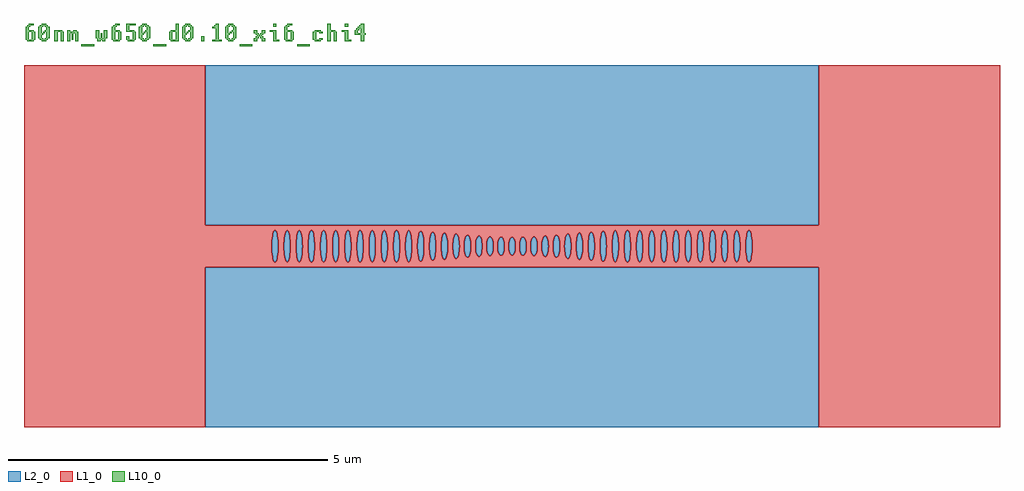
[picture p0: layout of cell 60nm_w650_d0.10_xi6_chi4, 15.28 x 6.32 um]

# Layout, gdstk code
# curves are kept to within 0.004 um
import gdstk
lib = gdstk.Library(unit=1e-6, precision=1e-09)
def R(c, l, rs):  # rectangles x0, y0, x1, y1
    for r in rs: c.add(gdstk.rectangle(r[:2], r[2:], *l))
def A(c, l, x, y, w, h, nx, ny, dx, dy):  # array of equal rectangles
    R(c, l, [(x+i*dx, y+j*dy, x+i*dx+w, y+j*dy+h) for i in range(nx) for j in range(ny)])
def P(c, l, *ps):  # polygons
    for p in ps: c.add(gdstk.Polygon(p, *l))
L1_0 = (1, 0)
L2_0 = (2, 0)
L10_0 = (10, 0)

c_60nm_w650_d0_10_xi6_chi4 = lib.new_cell('60nm_w650_d0.10_xi6_chi4')
P(c_60nm_w650_d0_10_xi6_chi4, L1_0, [(-2.997,0.086),(-2.975,0.217),(-2.967,0.235),(-2.95,0.25),(-2.932,0.235),(-2.924,0.217),(-2.906,0.125),(-2.906,0.325),(-4.806,0.325),(-4.806,2.835),(-7.641,2.835),(-7.641,-0.043),(-3.761,-0.043),(-3.761,0.043),(-3.749,0.161),(-3.736,0.217),(-3.72,0.246),(-3.711,0.25),(-3.694,0.235),(-3.678,0.192),(-3.663,0.086),(-3.66,0),(-3.571,0),(-3.568,0.086),(-3.553,0.192),(-3.538,0.235),(-3.521,0.25),(-3.503,0.235),(-3.488,0.192),(-3.473,0.086),(-3.47,0),(-3.381,0),(-3.378,0.086),(-3.363,0.192),(-3.347,0.235),(-3.33,0.25),(-3.321,0.246),(-3.305,0.217),(-3.292,0.161),(-3.283,0.086),(-3.281,-0.043),(-3.19,-0.043),(-3.19,0.043),(-3.179,0.161),(-3.165,0.217),(-3.149,0.246),(-3.131,0.246),(-3.115,0.217),(-3.101,0.161),(-3.09,0.043),(-3.09,-0.043),(-3.101,-0.161),(-3.115,-0.217),(-3.131,-0.246),(-3.14,-0.25),(-3.157,-0.235),(-3.172,-0.192),(-3.19,-0.043),(-3.281,-0.043),(-3.287,-0.125),(-3.305,-0.217),(-3.321,-0.246),(-3.339,-0.246),(-3.355,-0.217),(-3.369,-0.161),(-3.381,0),(-3.47,0),(-3.473,-0.086),(-3.488,-0.192),(-3.503,-0.235),(-3.521,-0.25),(-3.538,-0.235),(-3.553,-0.192),(-3.568,-0.086),(-3.571,0),(-3.66,0),(-3.663,-0.086),(-3.678,-0.192),(-3.694,-0.235),(-3.711,-0.25),(-3.728,-0.235),(-3.743,-0.192),(-3.761,-0.043),(-7.641,-0.043),(-7.641,-2.835),(-4.806,-2.835),(-4.806,-0.325),(-2.906,-0.325),(-2.906,-0.125),(-2.924,-0.217),(-2.941,-0.246),(-2.95,-0.25),(-2.967,-0.235),(-2.982,-0.192),(-2.997,-0.086)],
  [(-2.902,-0.086),(-2.906,-0.325),(-1.973,-0.325),(-1.973,-0.217),(-1.989,-0.246),(-1.998,-0.25),(-2.015,-0.235),(-2.031,-0.192),(-2.046,-0.086),(-2.049,0),(-2.046,0.086),(-2.031,0.192),(-2.015,0.235),(-1.998,0.25),(-1.989,0.246),(-1.973,0.217),(-1.973,0.325),(-2.906,0.325),(-2.906,0.125),(-2.899,0),(-2.81,0),(-2.807,0.086),(-2.792,0.192),(-2.777,0.235),(-2.759,0.25),(-2.742,0.235),(-2.734,0.217),(-2.721,0.161),(-2.712,0.086),(-2.71,-0.043),(-2.619,-0.043),(-2.619,0.043),(-2.608,0.161),(-2.594,0.217),(-2.578,0.246),(-2.56,0.246),(-2.537,0.192),(-2.525,0.125),(-2.519,0),(-2.429,0),(-2.426,0.086),(-2.411,0.192),(-2.396,0.235),(-2.379,0.25),(-2.362,0.235),(-2.346,0.192),(-2.331,0.086),(-2.328,0),(-2.239,0),(-2.236,0.086),(-2.221,0.192),(-2.206,0.235),(-2.188,0.25),(-2.18,0.246),(-2.163,0.217),(-2.15,0.161),(-2.138,0),(-2.141,-0.086),(-2.156,-0.192),(-2.171,-0.235),(-2.188,-0.25),(-2.206,-0.235),(-2.221,-0.192),(-2.236,-0.086),(-2.239,0),(-2.328,0),(-2.331,-0.086),(-2.346,-0.192),(-2.362,-0.235),(-2.379,-0.25),(-2.396,-0.235),(-2.411,-0.192),(-2.426,-0.086),(-2.429,0),(-2.519,0),(-2.53,-0.161),(-2.544,-0.217),(-2.56,-0.246),(-2.569,-0.25),(-2.586,-0.235),(-2.601,-0.192),(-2.619,-0.043),(-2.71,-0.043),(-2.727,-0.192),(-2.742,-0.235),(-2.759,-0.25),(-2.777,-0.235),(-2.792,-0.192),(-2.807,-0.086),(-2.81,0),(-2.899,0)],
  [(-1.107,0.059),(-1.098,0.129),(-1.074,0.197),(-1.054,0.208),(-1.044,0.202),(-1.026,0.17),(-1.026,0.325),(-1.973,0.325),(-1.973,0.217),(-1.954,0.125),(-1.948,-0.043),(-1.858,-0.043),(-1.858,0.043),(-1.846,0.161),(-1.833,0.217),(-1.817,0.246),(-1.808,0.25),(-1.799,0.246),(-1.783,0.217),(-1.769,0.161),(-1.76,0.086),(-1.758,-0.043),(-1.668,-0.043),(-1.668,0.043),(-1.657,0.159),(-1.643,0.214),(-1.627,0.243),(-1.618,0.247),(-1.609,0.243),(-1.593,0.214),(-1.579,0.159),(-1.567,-0.021),(-1.48,-0.021),(-1.475,0.103),(-1.464,0.172),(-1.449,0.218),(-1.431,0.237),(-1.413,0.226),(-1.39,0.156),(-1.378,0),(-1.293,0),(-1.28,0.151),(-1.264,0.201),(-1.246,0.223),(-1.227,0.215),(-1.203,0.151),(-1.19,0),(-1.203,-0.151),(-1.219,-0.201),(-1.237,-0.223),(-1.256,-0.215),(-1.273,-0.179),(-1.29,-0.081),(-1.293,0),(-1.378,0),(-1.39,-0.156),(-1.413,-0.226),(-1.431,-0.237),(-1.449,-0.218),(-1.464,-0.172),(-1.48,-0.021),(-1.567,-0.021),(-1.585,-0.189),(-1.601,-0.232),(-1.618,-0.247),(-1.635,-0.232),(-1.65,-0.189),(-1.668,-0.043),(-1.758,-0.043),(-1.775,-0.192),(-1.791,-0.235),(-1.808,-0.25),(-1.825,-0.235),(-1.84,-0.192),(-1.858,-0.043),(-1.948,-0.043),(-1.954,-0.125),(-1.973,-0.217),(-1.973,-0.325),(-1.026,-0.325),(-1.026,-0.17),(-1.044,-0.202),(-1.054,-0.208),(-1.074,-0.197),(-1.083,-0.18),(-1.098,-0.129),(-1.107,-0.059)],
  [(-1.008,-0.077),(-1.026,-0.17),(-1.026,-0.325),(-0.003,-0.325),(-0.003,-0.141),(-0.027,-0.122),(-0.037,-0.103),(-0.053,-0.016),(-0.045,0.078),(-0.027,0.122),(-0.003,0.141),(-0.003,0.325),(-1.026,0.325),(-1.026,0.17),(-1.008,0.077),(-1.005,0),(-0.927,0),(-0.923,0.073),(-0.912,0.136),(-0.895,0.177),(-0.874,0.192),(-0.854,0.177),(-0.837,0.136),(-0.826,0.073),(-0.822,0),(-0.748,0),(-0.744,0.072),(-0.731,0.131),(-0.722,0.153),(-0.701,0.175),(-0.679,0.168),(-0.66,0.131),(-0.647,0.072),(-0.642,-0.018),(-0.571,-0.018),(-0.569,0.052),(-0.557,0.112),(-0.538,0.151),(-0.515,0.162),(-0.493,0.143),(-0.484,0.124),(-0.47,0.068),(-0.465,0),(-0.398,0),(-0.386,0.094),(-0.367,0.136),(-0.344,0.151),(-0.321,0.136),(-0.302,0.094),(-0.291,0),(-0.225,0),(-0.22,0.062),(-0.205,0.113),(-0.195,0.13),(-0.172,0.144),(-0.148,0.13),(-0.138,0.113),(-0.119,0.032),(-0.119,-0.032),(-0.13,-0.09),(-0.148,-0.13),(-0.172,-0.144),(-0.195,-0.13),(-0.205,-0.113),(-0.22,-0.062),(-0.225,0),(-0.291,0),(-0.302,-0.094),(-0.321,-0.136),(-0.344,-0.151),(-0.367,-0.136),(-0.386,-0.094),(-0.398,0),(-0.465,0),(-0.47,-0.068),(-0.484,-0.124),(-0.493,-0.143),(-0.515,-0.162),(-0.538,-0.151),(-0.557,-0.112),(-0.571,-0.018),(-0.642,-0.018),(-0.66,-0.131),(-0.679,-0.168),(-0.69,-0.175),(-0.711,-0.168),(-0.731,-0.131),(-0.744,-0.072),(-0.748,0),(-0.822,0),(-0.826,-0.073),(-0.837,-0.136),(-0.854,-0.177),(-0.874,-0.192),(-0.895,-0.177),(-0.912,-0.136),(-0.923,-0.073),(-0.927,0),(-1.005,0)],
  [(0.048,-0.063),(0.021,-0.13),(-0.003,-0.141),(-0.003,-0.325),(1.023,-0.325),(1.023,-0.157),(1.01,-0.095),(1.005,-0.02),(1.01,0.095),(1.023,0.157),(1.023,0.325),(-0.003,0.325),(-0.003,0.141),(0.021,0.13),(0.041,0.091),(0.054,0),(0.118,0),(0.123,0.062),(0.138,0.113),(0.148,0.13),(0.172,0.144),(0.195,0.13),(0.205,0.113),(0.22,0.062),(0.225,0),(0.291,0),(0.302,0.094),(0.321,0.136),(0.344,0.151),(0.367,0.136),(0.386,0.094),(0.396,0.034),(0.397,-0.018),(0.465,-0.018),(0.468,0.052),(0.48,0.112),(0.499,0.151),(0.521,0.162),(0.533,0.156),(0.553,0.124),(0.567,0.068),(0.572,0),(0.642,0),(0.652,0.104),(0.669,0.153),(0.69,0.175),(0.711,0.168),(0.731,0.131),(0.744,0.072),(0.748,0),(0.822,0),(0.826,0.073),(0.845,0.16),(0.864,0.188),(0.885,0.188),(0.912,0.136),(0.923,0.073),(0.927,0),(0.923,-0.073),(0.912,-0.136),(0.885,-0.188),(0.864,-0.188),(0.845,-0.16),(0.826,-0.073),(0.822,0),(0.748,0),(0.744,-0.072),(0.731,-0.131),(0.722,-0.153),(0.701,-0.175),(0.679,-0.168),(0.66,-0.131),(0.647,-0.072),(0.642,0),(0.572,0),(0.567,-0.068),(0.553,-0.124),(0.533,-0.156),(0.521,-0.162),(0.499,-0.151),(0.488,-0.134),(0.473,-0.084),(0.465,-0.018),(0.397,-0.018),(0.392,-0.066),(0.377,-0.118),(0.367,-0.136),(0.344,-0.151),(0.321,-0.136),(0.302,-0.094),(0.291,0),(0.225,0),(0.22,-0.062),(0.205,-0.113),(0.195,-0.13),(0.172,-0.144),(0.148,-0.13),(0.138,-0.113),(0.123,-0.062),(0.118,0),(0.054,0)],
  [(1.04,0.197),(1.059,0.208),(1.069,0.202),(1.087,0.17),(1.105,0.077),(1.109,0),(1.19,0),(1.203,0.151),(1.227,0.215),(1.246,0.223),(1.264,0.201),(1.28,0.151),(1.29,0.081),(1.292,-0.021),(1.378,-0.021),(1.388,0.14),(1.401,0.198),(1.417,0.231),(1.426,0.237),(1.445,0.226),(1.461,0.186),(1.473,0.122),(1.48,0),(1.567,0),(1.57,0.084),(1.585,0.189),(1.601,0.232),(1.618,0.247),(1.627,0.243),(1.643,0.214),(1.657,0.159),(1.668,0),(1.757,0),(1.76,0.086),(1.775,0.192),(1.791,0.235),(1.808,0.25),(1.817,0.246),(1.833,0.217),(1.846,0.161),(1.858,0.043),(1.858,-0.043),(1.84,-0.192),(1.825,-0.235),(1.808,-0.25),(1.791,-0.235),(1.775,-0.192),(1.76,-0.086),(1.757,0),(1.668,0),(1.657,-0.159),(1.643,-0.214),(1.627,-0.243),(1.618,-0.247),(1.601,-0.232),(1.585,-0.189),(1.57,-0.084),(1.567,0),(1.48,0),(1.473,-0.122),(1.461,-0.186),(1.445,-0.226),(1.426,-0.237),(1.409,-0.218),(1.394,-0.172),(1.378,-0.021),(1.292,-0.021),(1.29,-0.081),(1.273,-0.179),(1.256,-0.215),(1.237,-0.223),(1.219,-0.201),(1.203,-0.151),(1.19,0),(1.109,0),(1.1,-0.113),(1.078,-0.189),(1.059,-0.208),(1.049,-0.206),(1.023,-0.157),(1.023,-0.325),(1.966,-0.325),(1.966,-0.192),(1.948,-0.043),(1.951,0.086),(1.966,0.192),(1.966,0.325),(1.023,0.325),(1.023,0.157)],
  [(2.902,0.086),(2.906,0.325),(1.966,0.325),(1.966,0.192),(1.981,0.235),(1.998,0.25),(2.007,0.246),(2.023,0.217),(2.042,0.125),(2.049,0),(2.138,0),(2.141,0.086),(2.156,0.192),(2.171,0.235),(2.188,0.25),(2.206,0.235),(2.221,0.192),(2.236,0.086),(2.239,0),(2.328,0),(2.331,0.086),(2.346,0.192),(2.362,0.235),(2.379,0.25),(2.388,0.246),(2.404,0.217),(2.417,0.161),(2.426,0.086),(2.428,-0.043),(2.519,-0.043),(2.519,0.043),(2.53,0.161),(2.544,0.217),(2.56,0.246),(2.569,0.25),(2.578,0.246),(2.594,0.217),(2.608,0.161),(2.619,0),(2.709,0),(2.712,0.086),(2.727,0.192),(2.742,0.235),(2.759,0.25),(2.768,0.246),(2.785,0.217),(2.798,0.161),(2.81,0),(2.807,-0.086),(2.792,-0.192),(2.777,-0.235),(2.759,-0.25),(2.742,-0.235),(2.727,-0.192),(2.712,-0.086),(2.709,0),(2.619,0),(2.608,-0.161),(2.594,-0.217),(2.578,-0.246),(2.569,-0.25),(2.552,-0.235),(2.537,-0.192),(2.519,-0.043),(2.428,-0.043),(2.422,-0.125),(2.404,-0.217),(2.388,-0.246),(2.37,-0.246),(2.354,-0.217),(2.34,-0.161),(2.328,0),(2.239,0),(2.236,-0.086),(2.221,-0.192),(2.206,-0.235),(2.188,-0.25),(2.171,-0.235),(2.156,-0.192),(2.141,-0.086),(2.138,0),(2.049,0),(2.042,-0.125),(2.023,-0.217),(2.007,-0.246),(1.998,-0.25),(1.981,-0.235),(1.966,-0.192),(1.966,-0.325),(2.906,-0.325)],
  [(2.917,0.192),(2.932,0.235),(2.95,0.25),(2.967,0.235),(2.975,0.217),(2.997,0.086),(2.999,-0.043),(3.09,-0.043),(3.09,0.043),(3.101,0.161),(3.115,0.217),(3.131,0.246),(3.149,0.246),(3.172,0.192),(3.184,0.125),(3.19,0),(3.28,0),(3.283,0.086),(3.298,0.192),(3.313,0.235),(3.33,0.25),(3.347,0.235),(3.363,0.192),(3.378,0.086),(3.381,0),(3.47,0),(3.473,0.086),(3.488,0.192),(3.503,0.235),(3.521,0.25),(3.538,0.235),(3.553,0.192),(3.568,0.086),(3.571,0),(3.66,0),(3.663,0.086),(3.678,0.192),(3.694,0.235),(3.711,0.25),(3.72,0.246),(3.736,0.217),(3.749,0.161),(3.761,0.043),(3.761,-0.043),(3.743,-0.192),(3.728,-0.235),(3.711,-0.25),(3.694,-0.235),(3.678,-0.192),(3.663,-0.086),(3.66,0),(3.571,0),(3.568,-0.086),(3.553,-0.192),(3.538,-0.235),(3.521,-0.25),(3.503,-0.235),(3.488,-0.192),(3.473,-0.086),(3.47,0),(3.381,0),(3.378,-0.086),(3.363,-0.192),(3.347,-0.235),(3.33,-0.25),(3.313,-0.235),(3.298,-0.192),(3.283,-0.086),(3.28,0),(3.19,0),(3.179,-0.161),(3.165,-0.217),(3.149,-0.246),(3.14,-0.25),(3.123,-0.235),(3.108,-0.192),(3.09,-0.043),(2.999,-0.043),(2.982,-0.192),(2.958,-0.246),(2.941,-0.246),(2.924,-0.217),(2.906,-0.125),(2.906,-0.325),(4.806,-0.325),(4.806,-2.835),(7.641,-2.835),(7.641,2.835),(4.806,2.835),(4.806,0.325),(2.906,0.325),(2.906,0.125)])
R(c_60nm_w650_d0_10_xi6_chi4, L2_0, [(-4.806,-2.835,4.806,-0.325), (-4.806,0.325,4.806,2.835)])
P(c_60nm_w650_d0_10_xi6_chi4, L2_0, [(-3.663,0.086),(-3.678,0.192),(-3.694,0.235),(-3.711,0.25),(-3.72,0.246),(-3.736,0.217),(-3.755,0.125),(-3.761,0.043),(-3.755,-0.125),(-3.736,-0.217),(-3.72,-0.246),(-3.711,-0.25),(-3.702,-0.246),(-3.686,-0.217),(-3.672,-0.161),(-3.661,-0.043)],
  [(3.663,-0.086),(3.678,-0.192),(3.694,-0.235),(3.711,-0.25),(3.72,-0.246),(3.736,-0.217),(3.755,-0.125),(3.761,-0.043),(3.755,0.125),(3.736,0.217),(3.72,0.246),(3.711,0.25),(3.702,0.246),(3.686,0.217),(3.672,0.161),(3.661,0.043)],
  [(-0.744,-0.072),(-0.722,-0.153),(-0.701,-0.175),(-0.679,-0.168),(-0.652,-0.104),(-0.642,-0.018),(-0.647,0.072),(-0.669,0.153),(-0.69,0.175),(-0.701,0.175),(-0.722,0.153),(-0.738,0.104),(-0.747,0.037)],
  [(3.568,0.086),(3.553,0.192),(3.529,0.246),(3.521,0.25),(3.503,0.235),(3.482,0.161),(3.471,0.043),(3.473,-0.086),(3.495,-0.217),(3.503,-0.235),(3.521,-0.25),(3.538,-0.235),(3.546,-0.217),(3.559,-0.161),(3.57,-0.043)],
  [(3.378,0.086),(3.363,0.192),(3.339,0.246),(3.33,0.25),(3.313,0.235),(3.292,0.161),(3.281,0.043),(3.283,-0.086),(3.305,-0.217),(3.321,-0.246),(3.33,-0.25),(3.339,-0.246),(3.355,-0.217),(3.369,-0.161),(3.38,-0.043)],
  [(-3.568,-0.086),(-3.553,-0.192),(-3.529,-0.246),(-3.521,-0.25),(-3.503,-0.235),(-3.482,-0.161),(-3.471,-0.043),(-3.473,0.086),(-3.495,0.217),(-3.503,0.235),(-3.521,0.25),(-3.538,0.235),(-3.546,0.217),(-3.559,0.161),(-3.57,0.043)],
  [(2.902,-0.086),(2.917,-0.192),(2.941,-0.246),(2.95,-0.25),(2.967,-0.235),(2.988,-0.161),(2.999,-0.043),(2.997,0.086),(2.975,0.217),(2.967,0.235),(2.95,0.25),(2.932,0.235),(2.924,0.217),(2.911,0.161),(2.9,0.043)],
  [(2.807,0.086),(2.792,0.192),(2.768,0.246),(2.759,0.25),(2.742,0.235),(2.721,0.161),(2.71,0.043),(2.712,-0.086),(2.734,-0.217),(2.742,-0.235),(2.759,-0.25),(2.777,-0.235),(2.785,-0.217),(2.798,-0.161),(2.809,-0.043)],
  [(-3.378,-0.086),(-3.363,-0.192),(-3.339,-0.246),(-3.33,-0.25),(-3.313,-0.235),(-3.292,-0.161),(-3.281,-0.043),(-3.283,0.086),(-3.305,0.217),(-3.321,0.246),(-3.33,0.25),(-3.339,0.246),(-3.355,0.217),(-3.369,0.161),(-3.38,0.043)],
  [(2.331,-0.086),(2.346,-0.192),(2.37,-0.246),(2.379,-0.25),(2.396,-0.235),(2.417,-0.161),(2.428,-0.043),(2.426,0.086),(2.404,0.217),(2.388,0.246),(2.379,0.25),(2.37,0.246),(2.354,0.217),(2.34,0.161),(2.329,0.043)],
  [(2.236,0.086),(2.221,0.192),(2.197,0.246),(2.188,0.25),(2.171,0.235),(2.15,0.161),(2.139,0.043),(2.141,-0.086),(2.163,-0.217),(2.171,-0.235),(2.188,-0.25),(2.206,-0.235),(2.214,-0.217),(2.227,-0.161),(2.238,-0.043)],
  [(-2.997,-0.086),(-2.982,-0.192),(-2.958,-0.246),(-2.95,-0.25),(-2.932,-0.235),(-2.911,-0.161),(-2.9,-0.043),(-2.902,0.086),(-2.924,0.217),(-2.932,0.235),(-2.95,0.25),(-2.967,0.235),(-2.975,0.217),(-2.988,0.161),(-2.999,0.043)],
  [(1.76,-0.086),(1.775,-0.192),(1.791,-0.235),(1.808,-0.25),(1.817,-0.246),(1.833,-0.217),(1.852,-0.125),(1.858,-0.043),(1.852,0.125),(1.833,0.217),(1.817,0.246),(1.808,0.25),(1.799,0.246),(1.783,0.217),(1.769,0.161),(1.758,0.043)],
  [(1.665,0.084),(1.65,0.189),(1.627,0.243),(1.618,0.247),(1.601,0.232),(1.579,0.159),(1.568,0.043),(1.57,-0.084),(1.585,-0.189),(1.601,-0.232),(1.618,-0.247),(1.627,-0.243),(1.643,-0.214),(1.657,-0.159),(1.668,-0.043)],
  [(-2.046,-0.086),(-2.031,-0.192),(-2.015,-0.235),(-1.998,-0.25),(-1.989,-0.246),(-1.973,-0.217),(-1.954,-0.125),(-1.948,-0.043),(-1.954,0.125),(-1.973,0.217),(-1.989,0.246),(-1.998,0.25),(-2.007,0.246),(-2.023,0.217),(-2.037,0.161),(-2.048,0.043)],
  [(1.194,-0.081),(1.203,-0.151),(1.227,-0.215),(1.237,-0.223),(1.256,-0.215),(1.28,-0.151),(1.292,-0.041),(1.29,0.081),(1.273,0.179),(1.256,0.215),(1.246,0.223),(1.227,0.215),(1.203,0.151),(1.191,0.041)],
  [(-2.426,-0.086),(-2.411,-0.192),(-2.388,-0.246),(-2.379,-0.25),(-2.362,-0.235),(-2.34,-0.161),(-2.329,-0.043),(-2.331,0.086),(-2.346,0.192),(-2.362,0.235),(-2.379,0.25),(-2.388,0.246),(-2.404,0.217),(-2.417,0.161),(-2.428,0.043)],
  [(0.826,-0.073),(0.845,-0.16),(0.854,-0.177),(0.874,-0.192),(0.885,-0.188),(0.904,-0.16),(0.918,-0.107),(0.927,0),(0.918,0.107),(0.904,0.16),(0.885,0.188),(0.874,0.192),(0.854,0.177),(0.845,0.16),(0.831,0.107),(0.823,0.037)],
  [(0.744,0.072),(0.722,0.153),(0.701,0.175),(0.679,0.168),(0.652,0.104),(0.643,0.037),(0.647,-0.072),(0.669,-0.153),(0.69,-0.175),(0.701,-0.175),(0.722,-0.153),(0.738,-0.104),(0.747,-0.037)],
  [(-2.807,-0.086),(-2.792,-0.192),(-2.768,-0.246),(-2.759,-0.25),(-2.742,-0.235),(-2.721,-0.161),(-2.71,-0.043),(-2.712,0.086),(-2.734,0.217),(-2.742,0.235),(-2.759,0.25),(-2.777,0.235),(-2.785,0.217),(-2.798,0.161),(-2.809,0.043)],
  [(0.296,-0.066),(0.321,-0.136),(0.344,-0.151),(0.367,-0.136),(0.386,-0.094),(0.398,0),(0.392,0.066),(0.367,0.136),(0.344,0.151),(0.321,0.136),(0.302,0.094),(0.292,0.034)],
  [(0.22,0.062),(0.205,0.113),(0.195,0.13),(0.172,0.144),(0.148,0.13),(0.123,0.062),(0.118,0),(0.123,-0.062),(0.148,-0.13),(0.172,-0.144),(0.195,-0.13),(0.205,-0.113),(0.22,-0.062),(0.225,0)],
  [(-1.29,-0.081),(-1.273,-0.179),(-1.256,-0.215),(-1.246,-0.223),(-1.227,-0.215),(-1.203,-0.151),(-1.19,-0.02),(-1.194,0.081),(-1.211,0.179),(-1.227,0.215),(-1.237,0.223),(-1.256,0.215),(-1.28,0.151),(-1.292,0.041)],
  [(-0.22,-0.062),(-0.205,-0.113),(-0.195,-0.13),(-0.172,-0.144),(-0.148,-0.13),(-0.123,-0.062),(-0.118,-0.016),(-0.123,0.062),(-0.148,0.13),(-0.172,0.144),(-0.195,0.13),(-0.205,0.113),(-0.22,0.062),(-0.225,0)],
  [(-0.296,0.066),(-0.321,0.136),(-0.344,0.151),(-0.367,0.136),(-0.386,0.094),(-0.398,0),(-0.392,-0.066),(-0.367,-0.136),(-0.344,-0.151),(-0.321,-0.136),(-0.302,-0.094),(-0.292,-0.034)],
  [(-0.826,0.073),(-0.845,0.16),(-0.854,0.177),(-0.874,0.192),(-0.885,0.188),(-0.904,0.16),(-0.918,0.107),(-0.927,0),(-0.918,-0.107),(-0.904,-0.16),(-0.885,-0.188),(-0.874,-0.192),(-0.854,-0.177),(-0.845,-0.16),(-0.831,-0.107),(-0.823,-0.037)],
  [(-2.141,0.086),(-2.156,0.192),(-2.18,0.246),(-2.188,0.25),(-2.206,0.235),(-2.227,0.161),(-2.238,0.043),(-2.236,-0.086),(-2.214,-0.217),(-2.206,-0.235),(-2.188,-0.25),(-2.171,-0.235),(-2.163,-0.217),(-2.15,-0.161),(-2.139,-0.043)],
  [(0.048,0.063),(0.021,0.13),(-0.003,0.141),(-0.027,0.122),(-0.045,0.078),(-0.053,0.016),(-0.045,-0.078),(-0.027,-0.122),(-0.003,-0.141),(0.021,-0.13),(0.041,-0.091),(0.054,0)],
  [(-0.47,0.068),(-0.493,0.143),(-0.515,0.162),(-0.538,0.151),(-0.557,0.112),(-0.569,0.052),(-0.569,-0.052),(-0.557,-0.112),(-0.538,-0.151),(-0.527,-0.16),(-0.515,-0.162),(-0.493,-0.143),(-0.476,-0.098),(-0.466,-0.035)],
  [(0.567,0.068),(0.553,0.124),(0.533,0.156),(0.521,0.162),(0.499,0.151),(0.48,0.112),(0.465,0.018),(0.468,-0.052),(0.488,-0.134),(0.51,-0.16),(0.533,-0.156),(0.553,-0.124),(0.561,-0.098),(0.571,-0.035)],
  [(-1.008,0.077),(-1.026,0.17),(-1.044,0.202),(-1.054,0.208),(-1.074,0.197),(-1.098,0.129),(-1.108,0.02),(-1.103,-0.095),(-1.083,-0.18),(-1.074,-0.197),(-1.054,-0.208),(-1.044,-0.202),(-1.026,-0.17),(-1.013,-0.113),(-1.006,-0.039)],
  [(1.105,0.077),(1.087,0.17),(1.069,0.202),(1.059,0.208),(1.049,0.206),(1.031,0.18),(1.01,0.095),(1.005,0.02),(1.01,-0.095),(1.031,-0.18),(1.04,-0.197),(1.059,-0.208),(1.069,-0.202),(1.087,-0.17),(1.1,-0.113),(1.108,-0.039)],
  [(-1.381,0.083),(-1.397,0.186),(-1.422,0.235),(-1.431,0.237),(-1.449,0.218),(-1.47,0.14),(-1.48,0.021),(-1.475,-0.103),(-1.457,-0.198),(-1.449,-0.218),(-1.431,-0.237),(-1.413,-0.226),(-1.39,-0.156),(-1.379,-0.042)],
  [(1.476,0.083),(1.461,0.186),(1.436,0.235),(1.426,0.237),(1.409,0.218),(1.388,0.14),(1.378,0.021),(1.383,-0.103),(1.401,-0.198),(1.417,-0.231),(1.426,-0.237),(1.445,-0.226),(1.453,-0.209),(1.473,-0.122),(1.48,0)],
  [(-1.852,-0.125),(-1.833,-0.217),(-1.817,-0.246),(-1.808,-0.25),(-1.799,-0.246),(-1.783,-0.217),(-1.764,-0.125),(-1.757,0),(-1.764,0.125),(-1.783,0.217),(-1.799,0.246),(-1.808,0.25),(-1.817,0.246),(-1.833,0.217),(-1.852,0.125),(-1.858,0.043)],
  [(-2.522,0.086),(-2.537,0.192),(-2.56,0.246),(-2.569,0.25),(-2.586,0.235),(-2.608,0.161),(-2.619,0.043),(-2.613,-0.125),(-2.594,-0.217),(-2.578,-0.246),(-2.569,-0.25),(-2.56,-0.246),(-2.544,-0.217),(-2.53,-0.161),(-2.519,-0.043)],
  [(-1.568,0.043),(-1.585,0.189),(-1.609,0.243),(-1.618,0.247),(-1.635,0.232),(-1.657,0.159),(-1.668,0.043),(-1.662,-0.123),(-1.643,-0.214),(-1.627,-0.243),(-1.618,-0.247),(-1.609,-0.243),(-1.593,-0.214),(-1.579,-0.159),(-1.57,-0.084)],
  [(2.046,0.086),(2.031,0.192),(2.015,0.235),(1.998,0.25),(1.989,0.246),(1.973,0.217),(1.954,0.125),(1.948,0.043),(1.954,-0.125),(1.973,-0.217),(1.989,-0.246),(1.998,-0.25),(2.007,-0.246),(2.023,-0.217),(2.037,-0.161),(2.048,-0.043)],
  [(-3.093,0.086),(-3.108,0.192),(-3.131,0.246),(-3.14,0.25),(-3.157,0.235),(-3.179,0.161),(-3.19,0.043),(-3.184,-0.125),(-3.165,-0.217),(-3.149,-0.246),(-3.14,-0.25),(-3.131,-0.246),(-3.115,-0.217),(-3.101,-0.161),(-3.09,-0.043)],
  [(2.616,0.086),(2.601,0.192),(2.578,0.246),(2.569,0.25),(2.552,0.235),(2.53,0.161),(2.519,0.043),(2.525,-0.125),(2.544,-0.217),(2.56,-0.246),(2.569,-0.25),(2.578,-0.246),(2.594,-0.217),(2.608,-0.161),(2.619,-0.043)],
  [(3.187,0.086),(3.172,0.192),(3.149,0.246),(3.14,0.25),(3.123,0.235),(3.101,0.161),(3.09,0.043),(3.096,-0.125),(3.115,-0.217),(3.131,-0.246),(3.14,-0.25),(3.149,-0.246),(3.165,-0.217),(3.179,-0.161),(3.19,-0.043)])
A(c_60nm_w650_d0_10_xi6_chi4, L10_0, -5.766, 3.335, 0.025, 0.025, 3, 1, 0.675, 0)
R(c_60nm_w650_d0_10_xi6_chi4, L10_0, [(-6.741,3.135,-6.541,3.16), (-5.616,3.135,-5.416,3.16), (-4.266,3.135,-4.066,3.16), (-3.366,3.135,-3.166,3.16), (-4.866,3.21,-4.816,3.285), (-7.341,3.335,-7.316,3.36), (-3.741,3.435,-3.691,3.485), (-2.616,3.435,-2.566,3.485)])
P(c_60nm_w650_d0_10_xi6_chi4, L10_0, [(-7.466,3.36),(-7.491,3.36),(-7.491,3.385),(-7.566,3.385),(-7.566,3.435),(-7.541,3.435),(-7.541,3.46),(-7.491,3.46),(-7.491,3.485),(-7.566,3.485),(-7.566,3.46),(-7.591,3.46),(-7.591,3.435),(-7.616,3.435),(-7.616,3.235),(-7.566,3.235),(-7.566,3.36),(-7.516,3.36),(-7.516,3.235),(-7.566,3.235),(-7.616,3.235),(-7.591,3.235),(-7.591,3.21),(-7.491,3.21),(-7.491,3.235),(-7.466,3.235)],
  [(-7.266,3.26),(-7.241,3.26),(-7.241,3.435),(-7.266,3.435),(-7.266,3.46),(-7.291,3.46),(-7.291,3.485),(-7.366,3.485),(-7.366,3.46),(-7.391,3.46),(-7.391,3.435),(-7.416,3.435),(-7.416,3.26),(-7.366,3.26),(-7.366,3.31),(-7.341,3.31),(-7.341,3.335),(-7.366,3.335),(-7.366,3.435),(-7.341,3.435),(-7.341,3.46),(-7.316,3.46),(-7.316,3.435),(-7.291,3.435),(-7.291,3.385),(-7.316,3.385),(-7.316,3.36),(-7.291,3.36),(-7.291,3.26),(-7.316,3.26),(-7.316,3.235),(-7.341,3.235),(-7.341,3.26),(-7.366,3.26),(-7.416,3.26),(-7.391,3.26),(-7.391,3.235),(-7.366,3.235),(-7.366,3.21),(-7.291,3.21),(-7.291,3.235),(-7.266,3.235)],
  [(-7.116,3.21),(-7.116,3.36),(-7.066,3.36),(-7.066,3.21),(-7.016,3.21),(-7.016,3.36),(-7.041,3.36),(-7.041,3.385),(-7.166,3.385),(-7.166,3.21)],
  [(-6.916,3.21),(-6.916,3.335),(-6.891,3.335),(-6.891,3.235),(-6.866,3.235),(-6.866,3.335),(-6.841,3.335),(-6.841,3.21),(-6.791,3.21),(-6.791,3.36),(-6.816,3.36),(-6.816,3.385),(-6.866,3.385),(-6.866,3.36),(-6.916,3.36),(-6.916,3.385),(-6.966,3.385),(-6.966,3.21)],
  [(-6.491,3.26),(-6.491,3.21),(-6.441,3.21),(-6.441,3.235),(-6.416,3.235),(-6.416,3.21),(-6.366,3.21),(-6.366,3.26),(-6.341,3.26),(-6.341,3.385),(-6.391,3.385),(-6.391,3.26),(-6.416,3.26),(-6.416,3.335),(-6.441,3.335),(-6.441,3.26),(-6.466,3.26),(-6.466,3.385),(-6.516,3.385),(-6.516,3.26)],
  [(-6.116,3.36),(-6.141,3.36),(-6.141,3.385),(-6.216,3.385),(-6.216,3.435),(-6.191,3.435),(-6.191,3.46),(-6.141,3.46),(-6.141,3.485),(-6.216,3.485),(-6.216,3.46),(-6.241,3.46),(-6.241,3.435),(-6.266,3.435),(-6.266,3.235),(-6.216,3.235),(-6.216,3.36),(-6.166,3.36),(-6.166,3.235),(-6.216,3.235),(-6.266,3.235),(-6.241,3.235),(-6.241,3.21),(-6.141,3.21),(-6.141,3.235),(-6.116,3.235)],
  [(-6.016,3.235),(-6.016,3.21),(-5.916,3.21),(-5.916,3.235),(-5.891,3.235),(-5.891,3.36),(-5.916,3.36),(-5.916,3.385),(-5.991,3.385),(-5.991,3.46),(-5.891,3.46),(-5.891,3.485),(-6.041,3.485),(-6.041,3.36),(-5.941,3.36),(-5.941,3.235),(-5.991,3.235),(-5.991,3.285),(-6.041,3.285),(-6.041,3.235)],
  [(-5.691,3.26),(-5.666,3.26),(-5.666,3.435),(-5.691,3.435),(-5.691,3.46),(-5.716,3.46),(-5.716,3.485),(-5.791,3.485),(-5.791,3.46),(-5.816,3.46),(-5.816,3.435),(-5.841,3.435),(-5.841,3.26),(-5.791,3.26),(-5.791,3.31),(-5.766,3.31),(-5.766,3.335),(-5.791,3.335),(-5.791,3.435),(-5.766,3.435),(-5.766,3.46),(-5.741,3.46),(-5.741,3.435),(-5.716,3.435),(-5.716,3.385),(-5.741,3.385),(-5.741,3.36),(-5.716,3.36),(-5.716,3.26),(-5.741,3.26),(-5.741,3.235),(-5.766,3.235),(-5.766,3.26),(-5.791,3.26),(-5.841,3.26),(-5.816,3.26),(-5.816,3.235),(-5.791,3.235),(-5.791,3.21),(-5.716,3.21),(-5.716,3.235),(-5.691,3.235)],
  [(-5.266,3.485),(-5.266,3.385),(-5.341,3.385),(-5.341,3.36),(-5.366,3.36),(-5.366,3.235),(-5.316,3.235),(-5.316,3.36),(-5.266,3.36),(-5.266,3.235),(-5.316,3.235),(-5.366,3.235),(-5.341,3.235),(-5.341,3.21),(-5.216,3.21),(-5.216,3.485)],
  [(-5.016,3.26),(-4.991,3.26),(-4.991,3.435),(-5.016,3.435),(-5.016,3.46),(-5.041,3.46),(-5.041,3.485),(-5.116,3.485),(-5.116,3.46),(-5.141,3.46),(-5.141,3.435),(-5.166,3.435),(-5.166,3.26),(-5.116,3.26),(-5.116,3.31),(-5.091,3.31),(-5.091,3.335),(-5.116,3.335),(-5.116,3.435),(-5.091,3.435),(-5.091,3.46),(-5.066,3.46),(-5.066,3.435),(-5.041,3.435),(-5.041,3.385),(-5.066,3.385),(-5.066,3.36),(-5.041,3.36),(-5.041,3.26),(-5.066,3.26),(-5.066,3.235),(-5.091,3.235),(-5.091,3.26),(-5.116,3.26),(-5.166,3.26),(-5.141,3.26),(-5.141,3.235),(-5.116,3.235),(-5.116,3.21),(-5.041,3.21),(-5.041,3.235),(-5.016,3.235)],
  [(-4.666,3.435),(-4.691,3.435),(-4.691,3.41),(-4.641,3.41),(-4.641,3.235),(-4.691,3.235),(-4.691,3.21),(-4.541,3.21),(-4.541,3.235),(-4.591,3.235),(-4.591,3.485),(-4.641,3.485),(-4.641,3.46),(-4.666,3.46)],
  [(-4.341,3.26),(-4.316,3.26),(-4.316,3.435),(-4.341,3.435),(-4.341,3.46),(-4.366,3.46),(-4.366,3.485),(-4.441,3.485),(-4.441,3.46),(-4.466,3.46),(-4.466,3.435),(-4.491,3.435),(-4.491,3.26),(-4.441,3.26),(-4.441,3.31),(-4.416,3.31),(-4.416,3.335),(-4.441,3.335),(-4.441,3.435),(-4.416,3.435),(-4.416,3.46),(-4.391,3.46),(-4.391,3.435),(-4.366,3.435),(-4.366,3.385),(-4.391,3.385),(-4.391,3.36),(-4.366,3.36),(-4.366,3.26),(-4.391,3.26),(-4.391,3.235),(-4.416,3.235),(-4.416,3.26),(-4.441,3.26),(-4.491,3.26),(-4.466,3.26),(-4.466,3.235),(-4.441,3.235),(-4.441,3.21),(-4.366,3.21),(-4.366,3.235),(-4.341,3.235)],
  [(-4.016,3.335),(-4.016,3.31),(-3.991,3.31),(-3.991,3.285),(-4.016,3.285),(-4.016,3.26),(-4.041,3.26),(-4.041,3.21),(-3.991,3.21),(-3.991,3.26),(-3.966,3.26),(-3.966,3.285),(-3.941,3.285),(-3.941,3.26),(-3.916,3.26),(-3.916,3.21),(-3.866,3.21),(-3.866,3.26),(-3.891,3.26),(-3.891,3.285),(-3.916,3.285),(-3.916,3.31),(-3.891,3.31),(-3.891,3.335),(-3.866,3.335),(-3.866,3.385),(-3.916,3.385),(-3.916,3.335),(-3.941,3.335),(-3.941,3.31),(-3.966,3.31),(-3.966,3.335),(-3.991,3.335),(-3.991,3.385),(-4.041,3.385),(-4.041,3.335)],
  [(-3.741,3.21),(-3.641,3.21),(-3.641,3.235),(-3.691,3.235),(-3.691,3.385),(-3.791,3.385),(-3.791,3.36),(-3.741,3.36)],
  [(-3.416,3.36),(-3.441,3.36),(-3.441,3.385),(-3.516,3.385),(-3.516,3.435),(-3.491,3.435),(-3.491,3.46),(-3.441,3.46),(-3.441,3.485),(-3.516,3.485),(-3.516,3.46),(-3.541,3.46),(-3.541,3.435),(-3.566,3.435),(-3.566,3.235),(-3.516,3.235),(-3.516,3.36),(-3.466,3.36),(-3.466,3.235),(-3.516,3.235),(-3.566,3.235),(-3.541,3.235),(-3.541,3.21),(-3.441,3.21),(-3.441,3.235),(-3.416,3.235)],
  [(-3.116,3.235),(-3.091,3.235),(-3.091,3.21),(-2.991,3.21),(-2.991,3.235),(-2.966,3.235),(-2.966,3.26),(-3.016,3.26),(-3.016,3.235),(-3.066,3.235),(-3.066,3.36),(-3.016,3.36),(-3.016,3.335),(-2.966,3.335),(-2.966,3.36),(-2.991,3.36),(-2.991,3.385),(-3.091,3.385),(-3.091,3.36),(-3.116,3.36)],
  [(-2.841,3.21),(-2.841,3.36),(-2.791,3.36),(-2.791,3.21),(-2.741,3.21),(-2.741,3.36),(-2.766,3.36),(-2.766,3.385),(-2.841,3.385),(-2.841,3.485),(-2.891,3.485),(-2.891,3.21)],
  [(-2.616,3.21),(-2.516,3.21),(-2.516,3.235),(-2.566,3.235),(-2.566,3.385),(-2.666,3.385),(-2.666,3.36),(-2.616,3.36)],
  [(-2.316,3.21),(-2.316,3.31),(-2.291,3.31),(-2.291,3.335),(-2.316,3.335),(-2.316,3.485),(-2.366,3.485),(-2.366,3.46),(-2.391,3.46),(-2.391,3.435),(-2.416,3.435),(-2.416,3.41),(-2.441,3.41),(-2.441,3.385),(-2.466,3.385),(-2.466,3.335),(-2.416,3.335),(-2.416,3.385),(-2.391,3.385),(-2.391,3.41),(-2.366,3.41),(-2.366,3.335),(-2.416,3.335),(-2.466,3.335),(-2.466,3.31),(-2.366,3.31),(-2.366,3.21)])

lib.write_gds('60nm_w650_d0.10_xi6_chi4.gds')
